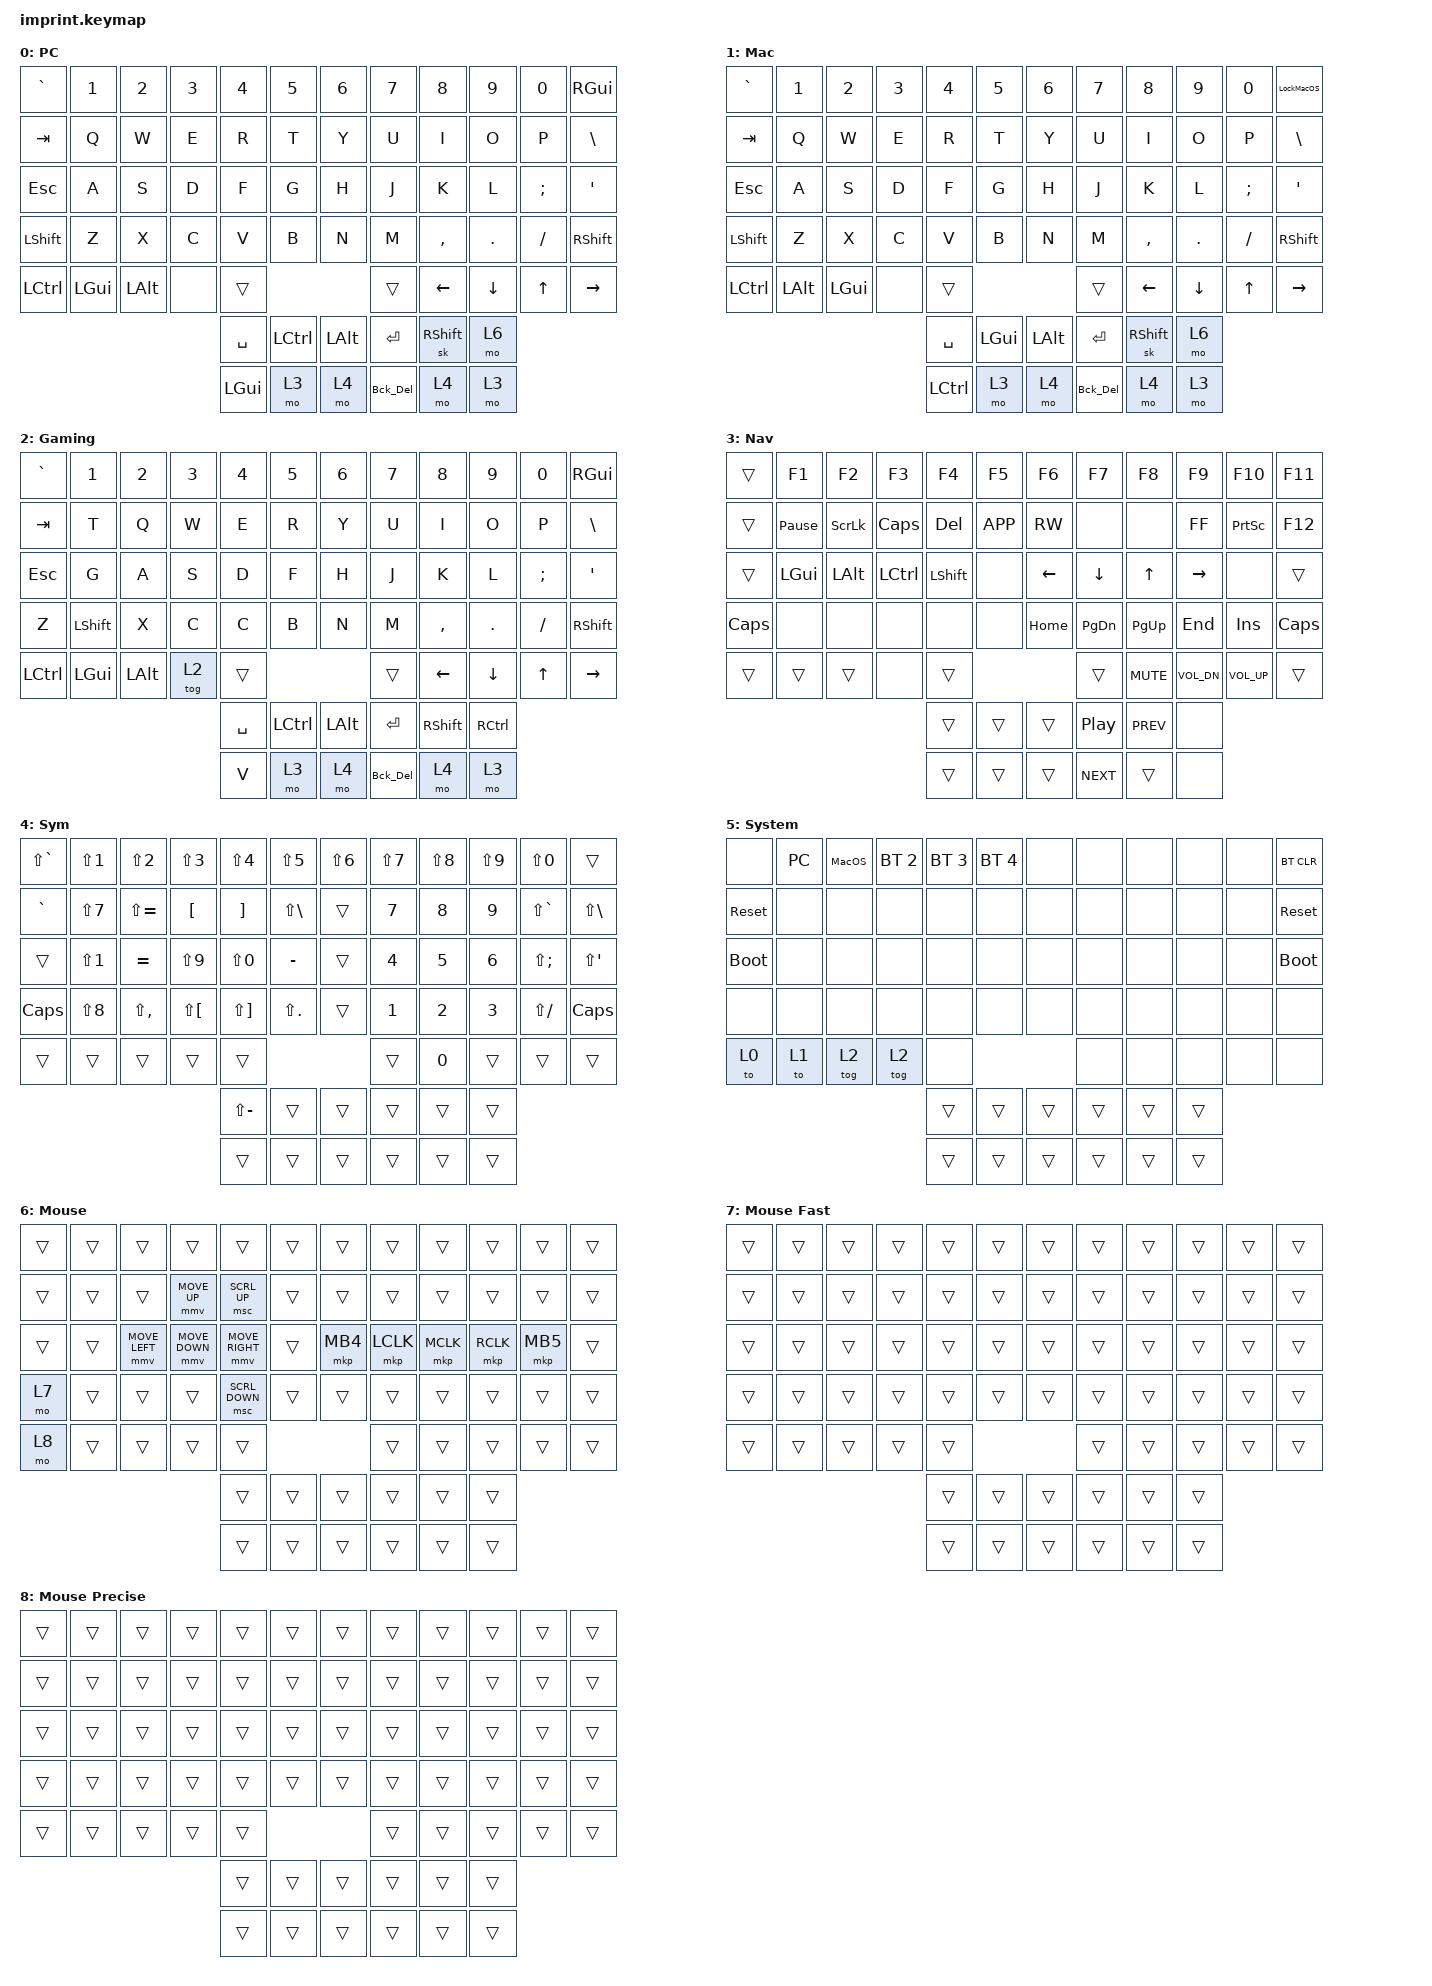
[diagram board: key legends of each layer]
#include <input/processors.dtsi>
#include <dt-bindings/zmk/input_transform.h>
#include <behaviors.dtsi>
#include <dt-bindings/zmk/bt.h>
#include <dt-bindings/zmk/keys.h>
#include <dt-bindings/zmk/pointing.h>

/ {
    chosen { zmk,physical-layout = &physical_layout_imprint_number_row_full_bottom_row; };

    macros {
        LockMacOS: LockMacOS {
            compatible = "zmk,behavior-macro";
            #binding-cells = <0>;
            bindings = <&kp LC(LG(Q))>;
            label = "LOCKMACOS";
        };

        MacOS: MacOS {
            compatible = "zmk,behavior-macro";
            #binding-cells = <0>;
            bindings = <&bt BT_SEL 1 &to 1>;
            label = "MACOS";
        };

        PC: PC {
            compatible = "zmk,behavior-macro";
            #binding-cells = <0>;
            bindings = <&bt BT_SEL 0 &to 0>;
            label = "PC";
        };
    };

    behaviors {
        Bck_Del: Bck_Del {
            compatible = "zmk,behavior-mod-morph";
            label = "BCK_DEL";
            bindings = <&kp BACKSPACE>, <&kp DELETE>;

            #binding-cells = <0>;
            mods = <(MOD_LSFT|MOD_RSFT)>;
        };
    };

    // Hold Nav (3) and Sym (4) together to reach System (5).
    // Don't reorder layers in ZMK Studio, or this will point at the wrong ones.
    conditional_layers {
        compatible = "zmk,conditional-layers";

        system_layer {
            if-layers = <3 4>;
            then-layer = <5>;
        };
    };

    keymap {
        compatible = "zmk,keymap";

        default_layer {
            display-name = "PC";
            bindings = <
&kp GRAVE  &kp N1     &kp N2     &kp N3     &kp N4     &kp N5     &kp N6     &kp N7     &kp N8     &kp N9     &kp N0     &kp RGUI
&kp TAB    &kp Q      &kp W      &kp E      &kp R      &kp T      &kp Y      &kp U      &kp I      &kp O      &kp P      &kp BSLH
&kp ESC    &kp A      &kp S      &kp D      &kp F      &kp G      &kp H      &kp J      &kp K      &kp L      &kp SEMI   &kp SQT
&kp LSHFT  &kp Z      &kp X      &kp C      &kp V      &kp B      &kp N      &kp M      &kp COMMA  &kp DOT    &kp FSLH   &kp RSHFT
&kp LCTRL  &kp LGUI   &kp LALT   &none      &trans                           &trans     &kp LEFT   &kp DOWN   &kp UP     &kp RIGHT
                                            &kp SPACE  &kp LCTRL  &kp LALT   &kp RET    &sk RSHFT  &mo 6
                                            &kp LGUI   &mo 3      &mo 4      &Bck_Del   &mo 4      &mo 3
            >;
        };

        Mac {
            display-name = "Mac";
            bindings = <
&kp GRAVE   &kp N1      &kp N2      &kp N3      &kp N4      &kp N5      &kp N6      &kp N7      &kp N8      &kp N9      &kp N0      &LockMacOS
&kp TAB     &kp Q       &kp W       &kp E       &kp R       &kp T       &kp Y       &kp U       &kp I       &kp O       &kp P       &kp BSLH
&kp ESC     &kp A       &kp S       &kp D       &kp F       &kp G       &kp H       &kp J       &kp K       &kp L       &kp SEMI    &kp SQT
&kp LSHFT   &kp Z       &kp X       &kp C       &kp V       &kp B       &kp N       &kp M       &kp COMMA   &kp DOT     &kp FSLH    &kp RSHFT
&kp LCTRL   &kp LALT    &kp LGUI    &none       &trans                              &trans      &kp LEFT    &kp DOWN    &kp UP      &kp RIGHT
                                                &kp SPACE   &kp LGUI    &kp LALT    &kp RET     &sk RSHFT   &mo 6
                                                &kp LCTRL   &mo 3       &mo 4       &Bck_Del    &mo 4       &mo 3
            >;
        };

        Gaming {
            display-name = "Gaming";
            bindings = <
&kp GRAVE  &kp N1     &kp N2     &kp N3     &kp N4     &kp N5     &kp N6     &kp N7     &kp N8     &kp N9     &kp N0     &kp RGUI
&kp TAB    &kp T      &kp Q      &kp W      &kp E      &kp R      &kp Y      &kp U      &kp I      &kp O      &kp P      &kp BSLH
&kp ESC    &kp G      &kp A      &kp S      &kp D      &kp F      &kp H      &kp J      &kp K      &kp L      &kp SEMI   &kp SQT
&kp Z      &kp LSHFT  &kp X      &kp C      &kp C      &kp B      &kp N      &kp M      &kp COMMA  &kp DOT    &kp FSLH   &kp RSHFT
&kp LCTRL  &kp LGUI   &kp LALT   &tog 2     &trans                           &trans     &kp LEFT   &kp DOWN   &kp UP     &kp RIGHT
                                            &kp SPACE  &kp LCTRL  &kp LALT   &kp RET    &kp RSHFT  &kp RCTRL
                                            &kp V      &mo 3      &mo 4      &Bck_Del   &mo 4      &mo 3
            >;
        };

        Navigation {
            display-name = "Nav";
            bindings = <
&trans           &kp F1           &kp F2           &kp F3           &kp F4           &kp F5           &kp F6           &kp F7           &kp F8           &kp F9           &kp F10          &kp F11
&trans           &kp PAUSE_BREAK  &kp SLCK         &kp CAPS         &kp DEL          &kp K_APP        &kp C_RW         &none            &none            &kp C_FF         &kp PSCRN        &kp F12
&trans           &kp LGUI         &kp LALT         &kp LCTRL        &kp LSHFT        &none            &kp LEFT         &kp DOWN         &kp UP           &kp RIGHT        &none            &trans
&kp CAPS         &none            &none            &none            &none            &none            &kp HOME         &kp PG_DN        &kp PG_UP        &kp END          &kp INS          &kp CAPS
&trans           &trans           &trans           &none            &trans                                             &trans           &kp C_MUTE       &kp C_VOL_DN     &kp C_VOL_UP     &trans
                                                                    &trans           &trans           &trans           &kp C_PP         &kp C_PREV       &none
                                                                    &trans           &trans           &trans           &kp C_NEXT       &trans           &none
            >;
        };

        Symbols {
            display-name = "Sym";
            bindings = <
&kp LS(GRAVE)  &kp LS(N1)     &kp LS(N2)     &kp LS(N3)     &kp LS(N4)     &kp LS(N5)     &kp LS(N6)     &kp LS(N7)     &kp LS(N8)     &kp LS(N9)     &kp LS(N0)     &trans
&kp GRAVE      &kp LS(N7)     &kp LS(EQUAL)  &kp LBKT       &kp RBKT       &kp LS(BSLH)   &trans         &kp N7         &kp N8         &kp N9         &kp LS(GRAVE)  &kp LS(BSLH)
&trans         &kp LS(N1)     &kp EQUAL      &kp LS(N9)     &kp LS(N0)     &kp MINUS      &trans         &kp N4         &kp N5         &kp N6         &kp LS(SEMI)   &kp LS(SQT)
&kp CAPS       &kp LS(N8)     &kp LS(COMMA)  &kp LS(LBKT)   &kp LS(RBKT)   &kp LS(DOT)    &trans         &kp N1         &kp N2         &kp N3         &kp LS(FSLH)   &kp CAPS
&trans         &trans         &trans         &trans         &trans                                       &trans         &kp N0         &trans         &trans         &trans
                                                            &kp LS(MINUS)  &trans         &trans         &trans         &trans         &trans
                                                            &trans         &trans         &trans         &trans         &trans         &trans
            >;
        };

        System {
            display-name = "System";
            bindings = <
&none         &PC           &MacOS        &bt BT_SEL 2  &bt BT_SEL 3  &bt BT_SEL 4  &none         &none         &none         &none         &none         &bt BT_CLR
&sys_reset    &none         &none         &none         &none         &none         &none         &none         &none         &none         &none         &sys_reset
&bootloader   &none         &none         &none         &none         &none         &none         &none         &none         &none         &none         &bootloader
&none         &none         &none         &none         &none         &none         &none         &none         &none         &none         &none         &none
&to 0         &to 1         &tog 2        &tog 2        &none                                     &none         &none         &none         &none         &none
                                                        &trans        &trans        &trans        &trans        &trans        &trans
                                                        &trans        &trans        &trans        &trans        &trans        &trans
            >;
        };

        Mouse {
            display-name = "Mouse";
            bindings = <
&trans           &trans           &trans           &trans           &trans           &trans           &trans           &trans           &trans           &trans           &trans           &trans
&trans           &trans           &trans           &mmv MOVE_UP     &msc SCRL_UP     &trans           &trans           &trans           &trans           &trans           &trans           &trans
&trans           &trans           &mmv MOVE_LEFT   &mmv MOVE_DOWN   &mmv MOVE_RIGHT  &trans           &mkp MB4         &mkp LCLK        &mkp MCLK        &mkp RCLK        &mkp MB5         &trans
&mo 7            &trans           &trans           &trans           &msc SCRL_DOWN   &trans           &trans           &trans           &trans           &trans           &trans           &trans
&mo 8            &trans           &trans           &trans           &trans                                             &trans           &trans           &trans           &trans           &trans
                                                                    &trans           &trans           &trans           &trans           &trans           &trans
                                                                    &trans           &trans           &trans           &trans           &trans           &trans
            
>;
        };

        MouseFast {
            display-name = "Mouse Fast";
            bindings = <
&trans  &trans  &trans  &trans  &trans  &trans  &trans  &trans  &trans  &trans  &trans  &trans
&trans  &trans  &trans  &trans  &trans  &trans  &trans  &trans  &trans  &trans  &trans  &trans
&trans  &trans  &trans  &trans  &trans  &trans  &trans  &trans  &trans  &trans  &trans  &trans
&trans  &trans  &trans  &trans  &trans  &trans  &trans  &trans  &trans  &trans  &trans  &trans
&trans  &trans  &trans  &trans  &trans  &trans  &trans  &trans  &trans  &trans
&trans  &trans  &trans  &trans  &trans  &trans
&trans  &trans  &trans  &trans  &trans  &trans
            >;
        };

        MousePrecise {
            display-name = "Mouse Precise";
            bindings = <
&trans  &trans  &trans  &trans  &trans  &trans  &trans  &trans  &trans  &trans  &trans  &trans
&trans  &trans  &trans  &trans  &trans  &trans  &trans  &trans  &trans  &trans  &trans  &trans
&trans  &trans  &trans  &trans  &trans  &trans  &trans  &trans  &trans  &trans  &trans  &trans
&trans  &trans  &trans  &trans  &trans  &trans  &trans  &trans  &trans  &trans  &trans  &trans
&trans  &trans  &trans  &trans  &trans  &trans  &trans  &trans  &trans  &trans
&trans  &trans  &trans  &trans  &trans  &trans
&trans  &trans  &trans  &trans  &trans  &trans
            >;
        };

        extra_4 {
            status = "reserved";
        };

        extra_5 {
            status = "reserved";
        };
    };
};

// Tuning for built-in behaviors, so they work well when assigned in ZMK Studio.
// Sticky keys release as soon as the next key is pressed (no double capitals).
&sk {
    quick-release;
};

// Layer-tap and mod-tap: resist misfires during fast typing.
&lt {
    flavor = "balanced";
    tapping-term-ms = <200>;
    quick-tap-ms = <175>;
    require-prior-idle-ms = <150>;
};

&mt {
    flavor = "balanced";
    tapping-term-ms = <200>;
    quick-tap-ms = <175>;
    require-prior-idle-ms = <150>;
};

// right hand trackball configuration
// &trackball_peripheral_listener {
//    input-processors =
//     activate layer 3 within 500ms of the trackball moving
//     <&zip_temp_layer 3 500>;
// };
//left hand trackball configuration

&trackball_central_listener {
    input-processors =
        // multiply sensitivity by 1, divide by 3 (make it slower for scrolling),,,,,,,,,,,,,,,,,,,,,,,,
        <&zip_xy_scaler 1 3>,
        // make this trackball output scrolling events by default instead of cursor movement,,,,,,,,,,,,,,,,,,,,,,,,
        <&zip_xy_to_scroll_mapper>,
        // invert vertical scrolling so that the view moves in the same direction as the top of the trackball.,,,,,,,,,,,,,,,,,,,,,,,,
        <&zip_scroll_transform INPUT_TRANSFORM_Y_INVERT>;
};

// Mouse speed modifiers: hold Shift (fast) or Ctrl (precise) while on the Mouse layer.
&mmv_input_listener {
    mouse_fast {
        layers = <7>;
        input-processors = <&zip_xy_scaler 5 2>;
    };
    mouse_precise {
        layers = <8>;
        input-processors = <&zip_xy_scaler 1 3>;
    };
};
